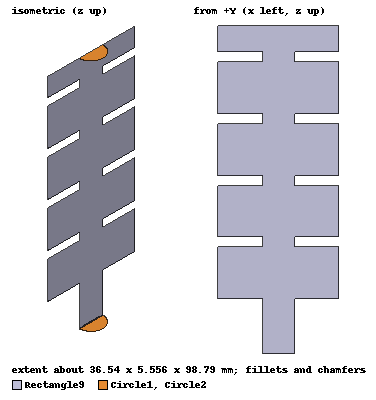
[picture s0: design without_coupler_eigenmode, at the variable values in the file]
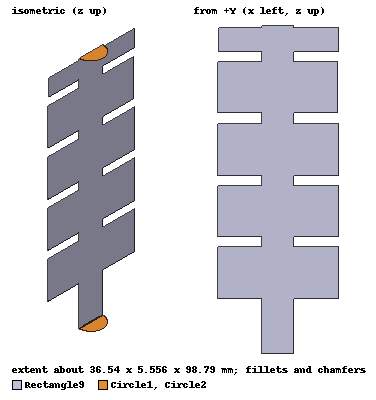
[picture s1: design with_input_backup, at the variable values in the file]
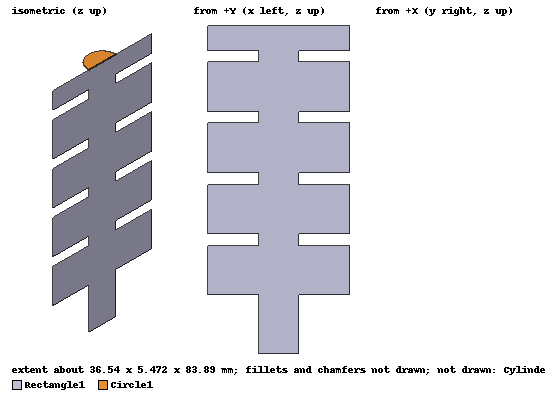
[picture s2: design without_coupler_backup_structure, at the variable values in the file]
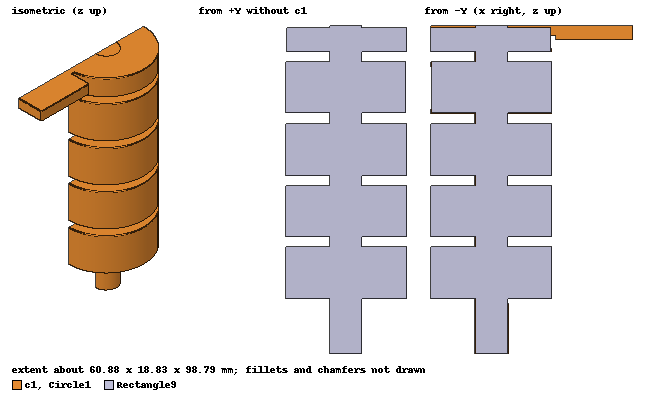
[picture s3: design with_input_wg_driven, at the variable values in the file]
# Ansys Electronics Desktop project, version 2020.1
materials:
  vacuum: permittivity=1
  copper: permeability=0.999991 conductivity=58000000
  pec: conductivity=1e+30
  tungsten: conductivity=18200000

design without_coupler_eigenmode (HFSS, Eigenmode, model units mm)
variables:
  d = 15.62mm
  t = 3mm
  b = 18.27mm
  a = 5mm
  lp = 15mm
  w = 2.54mm
  l = 4.22mm
  db = 1.283mm
  wgl = 22.86mm
  wgw = 10.46mm
  th = 0.2mm
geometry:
  c1 [vacuum] = cylinder(axis=Z, base_centre=(0mm, 0mm, 0mm), radius=b, height=d)
  Cylinder2 = cylinder(axis=Z, base_centre=(0mm, 0mm, t/2), radius=b-0.1mm, height=d-t)
  c1.subtract(Cylinder2)
  Cylinder3 = cylinder(axis=Z, base_centre=(0mm, 0mm, d), radius=a, height=t)
  Cylinder3.fillet(Edges=c1.edge(2 of 2) Radius=t/2 Setback=0mm)
  Cylinder3.fillet(Edges=c1.edge(1 of 2) Radius=t/2 Setback=0mm)
  c1.unite(Cylinder3)
  c1.fillet(Edges=c1.edge(#239) Radius=t/2 Setback=0mm)
  c2 = cylinder(axis=Z, base_centre=(0mm, 0mm, d+t), radius=b, height=d)
  Cylinder4 = cylinder(axis=Z, base_centre=(0mm, 0mm, d+t+t/2), radius=b-0.1mm, height=d-t)
  c2.subtract(Cylinder4)
  Cylinder5 = cylinder(axis=Z, base_centre=(0mm, 0mm, 2*d+t), radius=a, height=t)
  Cylinder5.fillet(Edges=c1.edge(2 of 2) Radius=t/2 Setback=0mm)
  Cylinder5.fillet(Edges=c1.edge(1 of 2) Radius=t/2 Setback=0mm)
  c2.unite(Cylinder5)
  c2.fillet(Edges=c1.edge(#290) Radius=t/2 Setback=0mm)
  c3 = cylinder(axis=Z, base_centre=(0mm, 0mm, 2*d+2*t), radius=b, height=d)
  Cylinder6 = cylinder(axis=Z, base_centre=(0mm, 0mm, 2*d+2*t+t/2), radius=b-0.1mm, height=d-t)
  c3.subtract(Cylinder6)
  Cylinder7 = cylinder(axis=Z, base_centre=(0mm, 0mm, 3*d+2*t), radius=a, height=t)
  Cylinder7.fillet(Edges=c1.edge(2 of 2) Radius=t/2 Setback=0mm)
  Cylinder7.fillet(Edges=c1.edge(1 of 2) Radius=t/2 Setback=0mm)
  c3.unite(Cylinder7)
  c3.fillet(Edges=c1.edge(#341) Radius=t/2 Setback=0mm)
  c4 = cylinder(axis=Z, base_centre=(0mm, 0mm, 3*d+3*t), radius=b, height=d)
  Cylinder8 = cylinder(axis=Z, base_centre=(0mm, 0mm, 3*d+3*t+t/2), radius=b-0.1mm, height=d-t)
  c4.subtract(Cylinder8)
  Cylinder9 = cylinder(axis=Z, base_centre=(0mm, 0mm, 4*d+3*t), radius=a, height=t)
  Cylinder9.fillet(Edges=c1.edge(2 of 2) Radius=t/2 Setback=0mm)
  Cylinder9.fillet(Edges=c1.edge(1 of 2) Radius=t/2 Setback=0mm)
  c4.unite(Cylinder9)
  c4.fillet(Edges=c1.edge(#392) Radius=t/2 Setback=0mm)
  c5 = cylinder(axis=Z, base_centre=(0mm, 0mm, 4*d+4*t), radius=b, height=d/2)
  Cylinder10 = cylinder(axis=Z, base_centre=(0mm, 0mm, 4*d+4*t+t/4), radius=b-0.1mm, height=d/2-t/2)
  c5.subtract(Cylinder10)
  particle_tube = cylinder(axis=Z, base_centre=(0mm, 0mm, -t/2), radius=a+0.1mm, height=-lp)
  starting_iris = cylinder(axis=Z, base_centre=(0mm, 0mm, 0mm), radius=a, height=-t)
  c1.unite(c2..c5, particle_tube, starting_iris)
  c1.fillet(Edges=c1.edge(2 of 2) Radius=t/2 Setback=0mm)
  c1.fillet(Edges=c1.edge(#235) Radius=t/2 Setback=0mm)
  c1.fillet(Edges=c1.edge(#286) Radius=t/2 Setback=0mm)
  c1.fillet(Edges=c1.edge(#337) Radius=t/2 Setback=0mm)
  c1.fillet(Edges=c1.edge(#388) Radius=t/2 Setback=0mm)
  length_iris = cylinder(axis=Z, base_centre=(0mm, 0mm, -lp-t/2), radius=a-t/16, height=t/2+4*t+4*d+d/2+lp)
  c1.subtract(length_iris)
  half = box(corner=(-b, 0mm, -lp-t/2), size=(2*b, -b, lp+4*d+t/2+4*t+d/2))
  c1.subtract(half)
  Circle1 = circle(normal=Z, centre=(0mm, 0mm, 4*d+4*t+d/2), radius=a)
  Rectangle7 = rectangle(corner=(5mm, 0mm, 82.29mm), x_size=-11mm, y_size=-8mm)
  Circle1.subtract(Rectangle7)
  Circle2 = circle(normal=Z, centre=(0mm, 0mm, -lp-t/2), radius=a)
  Rectangle8 = rectangle(corner=(5mm, 0mm, -16.5mm), x_size=-10mm, y_size=-5mm)
  Circle2.subtract(Rectangle8)
  c1.fillet(Edges=c1.edge(at (4.8125, 0, 14.12)) Radius=t/2 Setback=0mm)
  c1.fillet(Edges=c1.edge(at (4.8125, 0, 20.12)) Radius=t/2 Setback=0mm)
  c1.fillet(Edges=c1.edge(at (4.8125, 0, 32.74)) Radius=t/2 Setback=0mm)
  c1.fillet(Edges=c1.edge(at (4.8125, 0, 38.74)) Radius=t/2 Setback=0mm)
  c1.fillet(Edges=c1.edge(at (4.8125, 0, 51.36)) Radius=t/2 Setback=0mm)
  c1.fillet(Edges=c1.edge(at (4.8125, 0, 57.36)) Radius=t/2 Setback=0mm)
  c1.fillet(Edges=c1.edge(at (4.8125, 0, 69.98)) Radius=t/2 Setback=0mm)
  c1.fillet(Edges=c1.edge(at (4.8125, 0, 75.23)) Radius=t/2 Setback=0mm)
  c1.fillet(Edges=c1.edge(at (4.8125, 0, 1.5)) Radius=t/2 Setback=0mm)
  Rectangle9 = rectangle(corner=(18.27mm, 0mm, 82.29mm), z_size=-7.81mm, x_size=-36.54mm)
  Rectangle10 = rectangle(corner=(18.27mm, 0mm, 71.48mm), z_size=-15.62mm, x_size=-36.54mm)
  Rectangle11 = rectangle(corner=(18.27mm, 0mm, 52.86mm), z_size=-15.62mm, x_size=-36.54mm)
  Rectangle12 = rectangle(corner=(18.27mm, 0mm, 34.24mm), z_size=-15.62mm, x_size=-36.54mm)
  Rectangle13 = rectangle(corner=(18.27mm, 0mm, 15.62mm), z_size=-15.62mm, x_size=-36.54mm)
  Rectangle14 = rectangle(corner=(4.8125mm, 0mm, 82.29mm), z_size=-98.79mm, x_size=-9.9125mm)
  Rectangle9.unite(Rectangle10..Rectangle14)
  Polyline1 [non-model] = polyline((0mm, a, 82.29mm) (0mm, a, -16.5mm))
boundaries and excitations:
  PerfE2: Perfect E Objects=Circle1
  PerfE3: Perfect E Objects=Circle2
  PerfE4: Perfect E Faces=c1.face(#2414)
  PerfH1: Perfect H Objects=Rectangle9
  FiniteCond1: Finite Conductivity Faces=c1.face(3 of 3, 1 of 3, 1 of 3, 2 of 3, 2 of 3, 3 of 3, 2 of 3, 1 of 3, 3 of 3, 2 of 3, 2 of 3, 1 of 3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) Conductivity=58000000 Permeability=1 IsInternal
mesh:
  cavity: Curvilinear Objects=c1 Apply
  initial mesh: GlobalCurvilinear{Apply}
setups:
  Setup1: HfssEigen MinimumFrequency=9.6GHz NumModes=5 MaxDeltaFreq=10 ConvergeOnRealFreq=false MaximumPasses=10 MinimumPasses=1 MinimumConvergedPasses=1 PercentRefinement=30 BasisOrder=-1
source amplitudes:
  #-10:1: 1 0deg
  #-10:2..#-10:5: 0 0deg
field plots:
  Mag_E1: E Field over a plane on Setup1 : LastAdaptive at Phase=0deg
  Mag_H1: H Field over a plane on Setup1 : LastAdaptive at Phase=0deg
  Vector_E1: E Field in c1 on Setup1 : LastAdaptive at Phase=0deg
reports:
  Calculator Expressions Plot 2: Mag_E vs Distance on Setup1 : LastAdaptive [Phase=0deg]

design with_input_backup (HFSS, DrivenModal, model units mm)
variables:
  d = 15.62mm
  t = 3mm
  b = 18.27mm
  a = 5mm
  lp = 15mm
  w = 2.54mm
  l = 4.22mm
  db = 1.283mm
  wgl = 22.86mm
  wgw = 10.46mm
  th = 0.2mm
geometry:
  c1 [vacuum] = cylinder(axis=Z, base_centre=(0mm, 0mm, 0mm), radius=b, height=d)
  Cylinder2 = cylinder(axis=Z, base_centre=(0mm, 0mm, t/2), radius=b-0.1mm, height=d-t)
  c1.subtract(Cylinder2)
  Cylinder3 = cylinder(axis=Z, base_centre=(0mm, 0mm, d), radius=a, height=t)
  Cylinder3.fillet(Edges=c1.edge(2 of 2) Radius=t/2 Setback=0mm)
  Cylinder3.fillet(Edges=c1.edge(1 of 2) Radius=t/2 Setback=0mm)
  c1.unite(Cylinder3)
  c1.fillet(Edges=c1.edge(#239) Radius=t/2 Setback=0mm)
  c2 = cylinder(axis=Z, base_centre=(0mm, 0mm, d+t), radius=b, height=d)
  Cylinder4 = cylinder(axis=Z, base_centre=(0mm, 0mm, d+t+t/2), radius=b-0.1mm, height=d-t)
  c2.subtract(Cylinder4)
  Cylinder5 = cylinder(axis=Z, base_centre=(0mm, 0mm, 2*d+t), radius=a, height=t)
  Cylinder5.fillet(Edges=c1.edge(2 of 2) Radius=t/2 Setback=0mm)
  Cylinder5.fillet(Edges=c1.edge(1 of 2) Radius=t/2 Setback=0mm)
  c2.unite(Cylinder5)
  c2.fillet(Edges=c1.edge(#290) Radius=t/2 Setback=0mm)
  c3 = cylinder(axis=Z, base_centre=(0mm, 0mm, 2*d+2*t), radius=b, height=d)
  Cylinder6 = cylinder(axis=Z, base_centre=(0mm, 0mm, 2*d+2*t+t/2), radius=b-0.1mm, height=d-t)
  c3.subtract(Cylinder6)
  Cylinder7 = cylinder(axis=Z, base_centre=(0mm, 0mm, 3*d+2*t), radius=a, height=t)
  Cylinder7.fillet(Edges=c1.edge(2 of 2) Radius=t/2 Setback=0mm)
  Cylinder7.fillet(Edges=c1.edge(1 of 2) Radius=t/2 Setback=0mm)
  c3.unite(Cylinder7)
  c3.fillet(Edges=c1.edge(#341) Radius=t/2 Setback=0mm)
  c4 = cylinder(axis=Z, base_centre=(0mm, 0mm, 3*d+3*t), radius=b, height=d)
  Cylinder8 = cylinder(axis=Z, base_centre=(0mm, 0mm, 3*d+3*t+t/2), radius=b-0.1mm, height=d-t)
  c4.subtract(Cylinder8)
  Cylinder9 = cylinder(axis=Z, base_centre=(0mm, 0mm, 4*d+3*t), radius=a, height=t)
  Cylinder9.fillet(Edges=c1.edge(2 of 2) Radius=t/2 Setback=0mm)
  Cylinder9.fillet(Edges=c1.edge(1 of 2) Radius=t/2 Setback=0mm)
  c4.unite(Cylinder9)
  c4.fillet(Edges=c1.edge(#392) Radius=t/2 Setback=0mm)
  c5 = cylinder(axis=Z, base_centre=(0mm, 0mm, 4*d+4*t), radius=b, height=d/2)
  Cylinder10 = cylinder(axis=Z, base_centre=(0mm, 0mm, 4*d+4*t+t/4), radius=b-0.1mm, height=d/2-t/2)
  c5.subtract(Cylinder10)
  particle_tube = cylinder(axis=Z, base_centre=(0mm, 0mm, -t/2), radius=a+0.1mm, height=-lp)
  starting_iris = cylinder(axis=Z, base_centre=(0mm, 0mm, 0mm), radius=a, height=-t)
  c1.unite(c2..c5, particle_tube, starting_iris)
  c1.fillet(Edges=c1.edge(2 of 2) Radius=t/2 Setback=0mm)
  c1.fillet(Edges=c1.edge(#235) Radius=t/2 Setback=0mm)
  c1.fillet(Edges=c1.edge(#286) Radius=t/2 Setback=0mm)
  c1.fillet(Edges=c1.edge(#337) Radius=t/2 Setback=0mm)
  c1.fillet(Edges=c1.edge(#388) Radius=t/2 Setback=0mm)
  length_iris = cylinder(axis=Z, base_centre=(0mm, 0mm, -lp-t/2), radius=a-t/16, height=t/2+4*t+4*d+d/2+lp)
  c1.subtract(length_iris)
  half = box(corner=(-b, 0mm, -lp-t/2), size=(2*b, -b, lp+4*d+t/2+4*t+d/2))
  c1.subtract(half)
  wg_attach_vac = box(corner=(b-0.3mm-2*th, 0mm+th, 4*d+4*t+d/2-w-th), size=(db+5*th, l/2, w))
  wg_vac = box(corner=(b+db, 0mm+th, d*4+t*4+d/2-th), size=(wgl, wgw+th, -3.75mm))
  wg_copper = box(corner=(b+db-th, 0mm, d*4+t*4+d/2), size=(wgl+2*th, wgw+3*th, -3.75mm-2*th))
  wg_attach_copper = box(corner=(b-0.3mm, 0mm, 4*d+4*t+d/2-w-2*th), size=(db+2*th, l/2+2*th, w+2*th))
  wg_attach_copper.subtract(wg_attach_vac)
  wg_attach_vac1 = box(corner=(b-0.3mm-2*th, 0mm+th, 4*d+4*t+d/2-w-th), size=(db+5*th, l/2, w))
  Circle1 = circle(normal=Z, centre=(0mm, 0mm, 4*d+4*t+d/2), radius=a)
  Rectangle7 = rectangle(corner=(5mm, 0mm, 82.29mm), x_size=-11mm, y_size=-8mm)
  Circle1.subtract(Rectangle7)
  Circle2 = circle(normal=Z, centre=(0mm, 0mm, -lp-t/2), radius=a)
  Rectangle8 = rectangle(corner=(5mm, 0mm, -16.5mm), x_size=-10mm, y_size=-5mm)
  Circle2.subtract(Rectangle8)
  c1.fillet(Edges=c1.edge(at (4.8125, 0, 14.12)) Radius=t/2 Setback=0mm)
  c1.fillet(Edges=c1.edge(at (4.8125, 0, 20.12)) Radius=t/2 Setback=0mm)
  c1.fillet(Edges=c1.edge(at (4.8125, 0, 32.74)) Radius=t/2 Setback=0mm)
  c1.fillet(Edges=c1.edge(at (4.8125, 0, 38.74)) Radius=t/2 Setback=0mm)
  c1.fillet(Edges=c1.edge(at (4.8125, 0, 51.36)) Radius=t/2 Setback=0mm)
  c1.fillet(Edges=c1.edge(at (4.8125, 0, 57.36)) Radius=t/2 Setback=0mm)
  c1.fillet(Edges=c1.edge(at (4.8125, 0, 69.98)) Radius=t/2 Setback=0mm)
  c1.fillet(Edges=c1.edge(at (4.8125, 0, 75.23)) Radius=t/2 Setback=0mm)
  c1.fillet(Edges=c1.edge(at (4.8125, 0, 1.5)) Radius=t/2 Setback=0mm)
  wg_attach_copper.subtract(wg_attach_vac1)
  wg_copper.subtract(wg_vac)
  c1.unite(wg_attach_copper)
  c1.unite(wg_copper)
  Rectangle9 = rectangle(corner=(5mm, 0mm, 82.29mm), z_size=-98.79mm, x_size=-9.8125mm)
  Rectangle10 = rectangle(corner=(17.97mm, 0mm, 81.54mm), z_size=-7.06mm, x_size=-36.24mm)
  Rectangle11 = rectangle(corner=(18.27mm, 0mm, 71.48mm), z_size=-15.48mm, x_size=-36.27mm)
  Rectangle12 = rectangle(corner=(18.27mm, 0mm, 52.86mm), z_size=-15.62mm, x_size=-36.54mm)
  Rectangle13 = rectangle(corner=(18.27mm, 0mm, 34.24mm), z_size=-15.62mm, x_size=-36.54mm)
  Rectangle14 = rectangle(corner=(18.27mm, 0mm, 15.62mm), z_size=-15.62mm, x_size=-36.54mm)
  Rectangle9.unite(Rectangle10..Rectangle14)
  Polyline1 [non-model] = polyline((0mm, a, 82.29mm) (0mm, a, 0mm))
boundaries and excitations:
  PerfE2: Perfect E Objects=Circle1
  PerfE3: Perfect E Objects=Circle2
  PerfH1: Perfect H Objects=Rectangle9
  PerfE4: Perfect E Faces=c1.face(3 of 3)
  1: Wave Port Faces=c1.face(6 of 6) NumModes=1 Modes{Mode1{CharImp=Zpi}}
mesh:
  cavity: Curvilinear Objects=c1 Apply
  initial mesh: GlobalCurvilinear{Apply}
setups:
  Setup1: HfssDriven Frequency=9.5977GHz MaxDeltaS=0.02 MaximumPasses=10 MinimumPasses=4 MinimumConvergedPasses=1 PercentRefinement=30 BasisOrder=1 PortAccuracy=2 IterativeResidual=1e-06 DDMSolverResidual=0.0001
    sweep Sweep: 4.79885GHz to 14.39655GHz, 120 points; Type=Discrete SaveFields
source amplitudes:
  1:1: 1W 0deg
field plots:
  Mag_E1, Vector_E1: E Field in c1 on Setup1 : LastAdaptive at Freq=9.5977GHz Phase=0deg
  Vector_H1, Mag_H1: H Field in c1 on Setup1 : LastAdaptive at Freq=9.5977GHz Phase=0deg
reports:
  S Parameter Plot 1: dB(S(1,1)) vs Freq on Setup1 : Sweep
  Calculator Expressions Plot 1: Mag_E, Mag_H vs Distance on Setup1 : LastAdaptive [Freq=9.5977GHz Phase=0deg]

design without_coupler_backup_structure (HFSS, Eigenmode, model units mm)
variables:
  b = 18.27mm
  d = 15.62mm
  a = 5mm
  t = 3mm
  h = d-t
  lp = -15mm
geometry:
  Cylinder1 [vacuum] = cylinder(axis=Z, base_centre=(0mm, 0mm, 0mm), radius=b, height=h)
  Cylinder2 = cylinder(axis=Z, base_centre=(0mm, 0mm, d-t), radius=a, height=t)
  Cylinder1.unite(Cylinder2)
  Cylinder1.fillet(Edges=Cylinder1.edge(1 of 2) Radius=t/2 Setback=0mm)
  Cylinder3 = cylinder(axis=Z, base_centre=(0mm, 0mm, h+t), radius=b, height=h)
  Cylinder4 = cylinder(axis=Z, base_centre=(0mm, 0mm, 2*h+t), radius=a, height=t)
  Cylinder3.unite(Cylinder4)
  Cylinder3.fillet(Edges=Cylinder1.edge(1 of 2) Radius=t/2 Setback=0mm)
  Cylinder5 = cylinder(axis=Z, base_centre=(0mm, 0mm, 2*h+2*t), radius=b, height=h)
  Cylinder6 = cylinder(axis=Z, base_centre=(0mm, 0mm, 3*h+2*t), radius=a, height=t)
  Cylinder5.unite(Cylinder6)
  Cylinder5.fillet(Edges=Cylinder1.edge(1 of 2) Radius=t/2 Setback=0mm)
  Cylinder7 = cylinder(axis=Z, base_centre=(0mm, 0mm, 3*h+3*t), radius=b, height=h)
  Cylinder8 = cylinder(axis=Z, base_centre=(0mm, 0mm, 4*h+3*t), radius=a, height=t)
  Cylinder7.unite(Cylinder8)
  Cylinder7.fillet(Edges=Cylinder1.edge(1 of 2) Radius=t/2 Setback=0mm)
  Cylinder9 = cylinder(axis=Z, base_centre=(0mm, 0mm, 4*h+4*t), radius=b, height=h/2)
  Cylinder1.unite(Cylinder3, Cylinder5, Cylinder7, Cylinder9)
  Cylinder1.fillet(Edges=Cylinder1.edge(2 of 2) Radius=t/2 Setback=0mm)
  Cylinder1.fillet(Edges=Cylinder1.edge(2 of 2) Radius=t/2 Setback=0mm)
  Cylinder1.fillet(Edges=Cylinder1.edge(2 of 2) Radius=t/2 Setback=0mm)
  Cylinder1.fillet(Edges=Cylinder1.edge(2 of 2) Radius=t/2 Setback=0mm)
  Cylinder10 = cylinder(axis=Z, base_centre=(0mm, 0mm, -t), radius=a+0.1mm, height=lp+t-0.1mm)
  Cylinder11 = cylinder(axis=Z, base_centre=(0mm, 0mm, 0mm), radius=a+0.1mm, height=-t)
  Cylinder1.unite(Cylinder11)
  Cylinder1.unite(Cylinder10)
  Cylinder12 = cylinder(axis=Z, base_centre=(0mm, 0mm, lp), radius=a, height=-lp+4*h+4*t+h/2)
  Cylinder1.subtract(Cylinder12)
  Box1 = box(corner=(-b, 0mm, lp-0.1mm), size=(2*b, 2*b, -lp+4*h+h/2+4*t+0.1mm))
  Cylinder1.subtract(Box1)
  Rectangle1 = rectangle(corner=(5.1mm, 0mm, -15.1mm), z_size=83.89mm, x_size=-10.1mm)
  Rectangle2 = rectangle(corner=(18.27mm, 0mm, 0mm), z_size=12.62mm, x_size=-36.54mm)
  Rectangle3 = rectangle(corner=(18.27mm, 0mm, 15.62mm), z_size=12.62mm, x_size=-36.54mm)
  Rectangle4 = rectangle(corner=(18.27mm, 0mm, 31.24mm), z_size=12.62mm, x_size=-36.54mm)
  Rectangle5 = rectangle(corner=(18.27mm, 0mm, 46.86mm), z_size=12.62mm, x_size=-36.54mm)
  Rectangle6 = rectangle(corner=(18.27mm, 0mm, 62.48mm), z_size=6.31mm, x_size=-36.54mm)
  Rectangle1.unite(Rectangle2..Rectangle6)
  Circle1 = circle(normal=Z, centre=(0mm, 0mm, 4*h+4*t+h/2), radius=a)
  Rectangle7 = rectangle(corner=(-a, 0, 4*h+4*t+h/2), x_size=2*a, y_size=a)
  Circle1.subtract(Rectangle7)
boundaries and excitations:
  PerfE1: Perfect E Faces=Cylinder1.face(3 of 3)
  PerfE2: Perfect E Faces=Cylinder1.face(2 of 3)
  PerfE3: Perfect E Faces=Circle1.face(at (0, 0, 68.79))
  PerfH1: Perfect H Faces=Rectangle1.face(at (0.05, 0, 26.845))
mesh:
  cavity_lp: Curvilinear Objects=Cylinder1 Apply
  initial mesh: GlobalCurvilinear{Apply}
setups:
  Setup1: HfssEigen MinimumFrequency=9.6GHz NumModes=5 MaxDeltaFreq=10 ConvergeOnRealFreq=false MaximumPasses=10 MinimumPasses=5 MinimumConvergedPasses=1 PercentRefinement=30 BasisOrder=1
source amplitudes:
  #-10:1: 1 0deg
  #-10:2..#-10:5: 0 0deg

design s_band_pillbox (HFSS, Eigenmode, model units mm)
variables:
  b = 6.4cm
  l = 5.2cm
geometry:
  Cylinder1 [vacuum] = cylinder(axis=Z, base_centre=(0mm, 0mm, 0mm), radius=b, height=l)
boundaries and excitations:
  PerfE1: Perfect E Faces=Cylinder1.face(2 of 3)
  PerfE2: Perfect E Faces=Cylinder1.face(3 of 3)
  FiniteCond1: Finite Conductivity Faces=Cylinder1.face(1 of 3) Conductivity=58000000 Permeability=1 IsInternal
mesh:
  pbox_s: Curvilinear Objects=Cylinder1 Apply
  initial mesh: GlobalCurvilinear{Apply}
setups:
  Setup1: HfssEigen MinimumFrequency=2.856GHz NumModes=1 MaxDeltaFreq=10 ConvergeOnRealFreq=false MaximumPasses=10 MinimumPasses=4 MinimumConvergedPasses=1 PercentRefinement=30 BasisOrder=1
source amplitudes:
  #-10:1: 1 0deg

design x_band_pillbox (HFSS, Eigenmode, model units mm)
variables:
  b = 1.6cm
  l = 1.31cm
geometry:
  Cylinder1 [vacuum] = cylinder(axis=Z, base_centre=(0mm, 0mm, 0mm), radius=b, height=l)
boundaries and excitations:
  PerfE1: Perfect E Faces=Cylinder1.face(2 of 3)
  PerfE2: Perfect E Faces=Cylinder1.face(3 of 3)
  FiniteCond1: Finite Conductivity Faces=Cylinder1.face(1 of 3) Conductivity=58000000 Permeability=1 IsInternal
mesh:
  pbox_s: Curvilinear Objects=Cylinder1 Apply
  initial mesh: GlobalCurvilinear{Apply}
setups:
  Setup1: HfssEigen MinimumFrequency=11.414GHz NumModes=1 MaxDeltaFreq=10 ConvergeOnRealFreq=false MaximumPasses=10 MinimumPasses=4 MinimumConvergedPasses=1 PercentRefinement=30 BasisOrder=1
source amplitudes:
  #-10:1: 1 0deg

design x_band_pillbox_2 (HFSS, Eigenmode, model units mm)
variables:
  b = 1.9cm
  l = 1.56cm
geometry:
  Cylinder1 [vacuum] = cylinder(axis=Z, base_centre=(0mm, 0mm, 0mm), radius=b, height=l)
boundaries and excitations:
  PerfE1: Perfect E Faces=Cylinder1.face(2 of 3)
  PerfE2: Perfect E Faces=Cylinder1.face(3 of 3)
  FiniteCond1: Finite Conductivity Faces=Cylinder1.face(1 of 3) Conductivity=58000000 Permeability=1 IsInternal
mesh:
  pbox_s: Curvilinear Objects=Cylinder1 Apply
  initial mesh: GlobalCurvilinear{Apply}
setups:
  Setup1: HfssEigen MinimumFrequency=9.6GHz NumModes=1 MaxDeltaFreq=10 ConvergeOnRealFreq=false MaximumPasses=10 MinimumPasses=4 MinimumConvergedPasses=1 PercentRefinement=30 BasisOrder=1
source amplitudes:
  #-10:1: 1 0deg
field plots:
  Mag_H1: H Field over a plane on Setup1 : LastAdaptive at Phase=0deg
  Mag_E1: E Field over a plane on Setup1 : LastAdaptive at Phase=0deg

design with_input_wg_driven (HFSS, DrivenModal, model units mm)
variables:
  d = 15.62mm
  t = 3mm
  b = 18.27mm
  a = 5mm
  lp = 15mm
  w = 2.54mm
  l = 4.22mm
  db = 1.283mm
  wgl = 22.86mm
  wgw = 10.46mm
  th = 0.2mm
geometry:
  c1 [copper, solve inside] = cylinder(axis=Z, base_centre=(0mm, 0mm, 0mm), radius=b, height=d)
  Cylinder2 = cylinder(axis=Z, base_centre=(0mm, 0mm, t/2), radius=b-0.1mm, height=d-t)
  c1.subtract(Cylinder2)
  Cylinder3 = cylinder(axis=Z, base_centre=(0mm, 0mm, d), radius=a, height=t)
  Cylinder3.fillet(Edges=c1.edge(2 of 2) Radius=t/2 Setback=0mm)
  Cylinder3.fillet(Edges=c1.edge(1 of 2) Radius=t/2 Setback=0mm)
  c1.unite(Cylinder3)
  c1.fillet(Edges=c1.edge(#239) Radius=t/2 Setback=0mm)
  c2 = cylinder(axis=Z, base_centre=(0mm, 0mm, d+t), radius=b, height=d)
  Cylinder4 = cylinder(axis=Z, base_centre=(0mm, 0mm, d+t+t/2), radius=b-0.1mm, height=d-t)
  c2.subtract(Cylinder4)
  Cylinder5 = cylinder(axis=Z, base_centre=(0mm, 0mm, 2*d+t), radius=a, height=t)
  Cylinder5.fillet(Edges=c1.edge(2 of 2) Radius=t/2 Setback=0mm)
  Cylinder5.fillet(Edges=c1.edge(1 of 2) Radius=t/2 Setback=0mm)
  c2.unite(Cylinder5)
  c2.fillet(Edges=c1.edge(#290) Radius=t/2 Setback=0mm)
  c3 = cylinder(axis=Z, base_centre=(0mm, 0mm, 2*d+2*t), radius=b, height=d)
  Cylinder6 = cylinder(axis=Z, base_centre=(0mm, 0mm, 2*d+2*t+t/2), radius=b-0.1mm, height=d-t)
  c3.subtract(Cylinder6)
  Cylinder7 = cylinder(axis=Z, base_centre=(0mm, 0mm, 3*d+2*t), radius=a, height=t)
  Cylinder7.fillet(Edges=c1.edge(2 of 2) Radius=t/2 Setback=0mm)
  Cylinder7.fillet(Edges=c1.edge(1 of 2) Radius=t/2 Setback=0mm)
  c3.unite(Cylinder7)
  c3.fillet(Edges=c1.edge(#341) Radius=t/2 Setback=0mm)
  c4 = cylinder(axis=Z, base_centre=(0mm, 0mm, 3*d+3*t), radius=b, height=d)
  Cylinder8 = cylinder(axis=Z, base_centre=(0mm, 0mm, 3*d+3*t+t/2), radius=b-0.1mm, height=d-t)
  c4.subtract(Cylinder8)
  Cylinder9 = cylinder(axis=Z, base_centre=(0mm, 0mm, 4*d+3*t), radius=a, height=t)
  Cylinder9.fillet(Edges=c1.edge(2 of 2) Radius=t/2 Setback=0mm)
  Cylinder9.fillet(Edges=c1.edge(1 of 2) Radius=t/2 Setback=0mm)
  c4.unite(Cylinder9)
  c4.fillet(Edges=c1.edge(#392) Radius=t/2 Setback=0mm)
  c5 = cylinder(axis=Z, base_centre=(0mm, 0mm, 4*d+4*t), radius=b, height=d/2)
  Cylinder10 = cylinder(axis=Z, base_centre=(0mm, 0mm, 4*d+4*t+t/4), radius=b-0.1mm, height=d/2-t/2)
  c5.subtract(Cylinder10)
  particle_tube = cylinder(axis=Z, base_centre=(0mm, 0mm, -t/2), radius=a+0.1mm, height=-lp)
  starting_iris = cylinder(axis=Z, base_centre=(0mm, 0mm, 0mm), radius=a, height=-t)
  c1.unite(c2..c5, particle_tube, starting_iris)
  c1.fillet(Edges=c1.edge(2 of 2) Radius=t/2 Setback=0mm)
  c1.fillet(Edges=c1.edge(#235) Radius=t/2 Setback=0mm)
  c1.fillet(Edges=c1.edge(#286) Radius=t/2 Setback=0mm)
  c1.fillet(Edges=c1.edge(#337) Radius=t/2 Setback=0mm)
  c1.fillet(Edges=c1.edge(#388) Radius=t/2 Setback=0mm)
  length_iris = cylinder(axis=Z, base_centre=(0mm, 0mm, -lp-t/2), radius=a-t/16, height=t/2+4*t+4*d+d/2+lp)
  c1.subtract(length_iris)
  half = box(corner=(-b, 0mm, -lp-t/2), size=(2*b, -b, lp+4*d+t/2+4*t+d/2))
  c1.subtract(half)
  wg_attach_vac = box(corner=(b-0.3mm-2*th, 0mm+th, 4*d+4*t+d/2-w-th), size=(db+5*th, l/2, w))
  wg_vac = box(corner=(b+db, 0mm+th, d*4+t*4+d/2-th), size=(wgl, wgw+th, -3.75mm))
  wg_copper = box(corner=(b+db-th, 0mm, d*4+t*4+d/2), size=(wgl+2*th, wgw+3*th, -3.75mm-2*th))
  wg_attach_copper = box(corner=(b-0.3mm, 0mm, 4*d+4*t+d/2-w-2*th), size=(db+2*th, l/2+2*th, w+2*th))
  wg_attach_copper.subtract(wg_attach_vac)
  wg_attach_vac1 = box(corner=(b-0.3mm-2*th, 0mm+th, 4*d+4*t+d/2-w-th), size=(db+5*th, l/2, w))
  Circle1 = circle(normal=Z, centre=(0mm, 0mm, 4*d+4*t+d/2), radius=a)
  Rectangle7 = rectangle(corner=(5mm, 0mm, 82.29mm), x_size=-11mm, y_size=-8mm)
  Circle1.subtract(Rectangle7)
  Circle2 = circle(normal=Z, centre=(0mm, 0mm, -lp-t/2), radius=a)
  Rectangle8 = rectangle(corner=(5mm, 0mm, -16.5mm), x_size=-10mm, y_size=-5mm)
  Circle2.subtract(Rectangle8)
  c1.fillet(Edges=c1.edge(at (4.8125, 0, 14.12)) Radius=t/2 Setback=0mm)
  c1.fillet(Edges=c1.edge(at (4.8125, 0, 20.12)) Radius=t/2 Setback=0mm)
  c1.fillet(Edges=c1.edge(at (4.8125, 0, 32.74)) Radius=t/2 Setback=0mm)
  c1.fillet(Edges=c1.edge(at (4.8125, 0, 38.74)) Radius=t/2 Setback=0mm)
  c1.fillet(Edges=c1.edge(at (4.8125, 0, 51.36)) Radius=t/2 Setback=0mm)
  c1.fillet(Edges=c1.edge(at (4.8125, 0, 57.36)) Radius=t/2 Setback=0mm)
  c1.fillet(Edges=c1.edge(at (4.8125, 0, 69.98)) Radius=t/2 Setback=0mm)
  c1.fillet(Edges=c1.edge(at (4.8125, 0, 75.23)) Radius=t/2 Setback=0mm)
  c1.fillet(Edges=c1.edge(at (4.8125, 0, 1.5)) Radius=t/2 Setback=0mm)
  wg_attach_copper.subtract(wg_attach_vac1)
  wg_copper.subtract(wg_vac)
  c1.unite(wg_attach_copper)
  c1.unite(wg_copper)
  Rectangle9 = rectangle(corner=(5mm, 0mm, 82.29mm), z_size=-98.79mm, x_size=-9.8125mm)
  Rectangle10 = rectangle(corner=(17.97mm, 0mm, 81.54mm), z_size=-7.06mm, x_size=-36.24mm)
  Rectangle11 = rectangle(corner=(18.27mm, 0mm, 71.48mm), z_size=-15.48mm, x_size=-36.27mm)
  Rectangle12 = rectangle(corner=(18.27mm, 0mm, 52.86mm), z_size=-15.62mm, x_size=-36.54mm)
  Rectangle13 = rectangle(corner=(18.27mm, 0mm, 34.24mm), z_size=-15.62mm, x_size=-36.54mm)
  Rectangle14 = rectangle(corner=(18.27mm, 0mm, 15.62mm), z_size=-15.62mm, x_size=-36.54mm)
  Rectangle9.unite(Rectangle10..Rectangle14)
  Polyline1 [non-model] = polyline((0mm, a, 82.29mm) (0mm, a, 0mm))
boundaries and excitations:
  PerfE2: Perfect E Objects=Circle1
  PerfE3: Perfect E Objects=Circle2
  PerfH1: Perfect H Objects=Rectangle9
  PerfE4: Perfect E Faces=c1.face(3 of 3)
  1: Wave Port Faces=c1.face(6 of 6) NumModes=1 Modes{Mode1{CharImp=Zpi}}
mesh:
  cavity: Curvilinear Objects=c1 Apply
  initial mesh: GlobalCurvilinear{Apply}
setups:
  Setup1: HfssDriven Frequency=9.5977GHz MaxDeltaS=0.02 MaximumPasses=10 MinimumPasses=4 MinimumConvergedPasses=1 PercentRefinement=30 BasisOrder=1 PortAccuracy=2 IterativeResidual=1e-06 DDMSolverResidual=0.0001
    sweep Sweep: 7GHz to 11GHz, 120 points; Type=Interpolating SaveFields InterpTolerance=0.5 InterpMaxSolns=250 InterpUsePortImped=false PassivityErrorTolerance=0.0001
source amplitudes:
  1:1: 1W 0deg
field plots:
  Mag_E1: E Field in c1 on Setup1 : LastAdaptive at Freq=9.5977GHz Phase=0deg
  Vector_H1, Mag_H1: H Field in c1 on Setup1 : LastAdaptive at Freq=9.5977GHz Phase=0deg
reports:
  S Parameter Plot 1: dB(S(1,1)) vs Freq on Setup1 : Sweep
  Calculator Expressions Plot 1: Mag_E, Mag_H vs Distance on Setup1 : LastAdaptive [Freq=9.5977GHz Phase=0deg]
